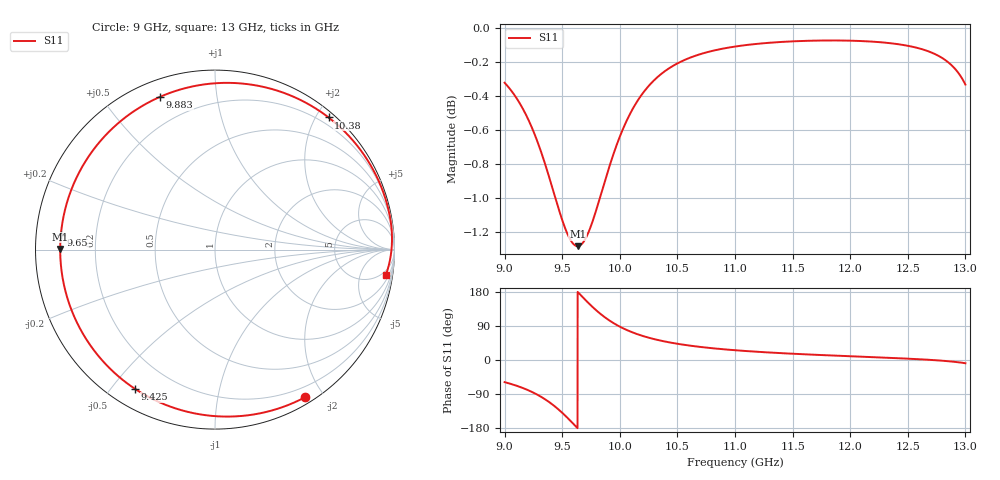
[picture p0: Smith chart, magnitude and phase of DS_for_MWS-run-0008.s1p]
! TOUCHSTONE file generated by CST DESIGN STUDIO
! Date and time: Tue Feb  4 17:05:27 2025
! Project name: C:\Work\MatlabApps\UnitCellOptimizationMatlab\CST\unitcell.cst
! Tree item: Tasks\Sweep1\SPara1\S-Parameters
! Header version: 2024
! Port assignment regex: !\s*Touchstone port\s*([0-9]+)\s*=\s*(CST MWS port|CST DES external port|CST DES block port)\s*(.+)\s* \(\"(.*)\"\)(\s*mode\s*([0-9]+))?.*
! Touchstone port assignment:
! Touchstone port 1 = CST DES external port 1 ("")
# GHz S MA R 50
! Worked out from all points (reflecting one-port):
!   4001 points, 9 GHz to 13 GHz, reference 50 ohm
!   lowest |S11| = -1.3 dB at 9.634 GHz (marker M1), VSWR 13.55, Z = 3.69 + j0.118 ohm
!   phase of S11 starts at -58 deg and turns -310 deg over the sweep
!   S11 on the Smith chart (normalised r, x): 9 GHz: 0.08, -1.78; 9.425 GHz: 0.07, -0.58; 9.65 GHz: 0.07, +0.05; 9.883 GHz: 0.07, +0.70; 10.38 GHz: 0.09, +2.18; 13 GHz: 3, -13
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9  0.9636 -58.5
9.059  0.9584 -63.6
9.134  0.95 -71.1
9.264  0.9299 -88.3
9.35  0.9123 -103.4
9.425  0.8949 -119.8
9.5  0.878 -139.3
9.571  0.8663 -160.3
9.634  0.8625 179.7
9.65  0.8628 174.6
9.707  0.8676 156.7
9.772  0.8789 137.5
9.827  0.8912 122.9
9.883  0.9043 109.9
9.938  0.9166 98.7
10  0.929 88.0
10.085  0.943 75.9
10.175  0.9543 65.8
10.273  0.9634 57.0
10.383  0.9708 49.3
10.5  0.9764 42.8
10.719  0.983 33.8
11  0.9876 25.8
11.5  0.9911 16.5
12  0.9915 9.9
12.5  0.9881 3.5
12.794  0.9802 -1.7
13  0.9624 -8.5
